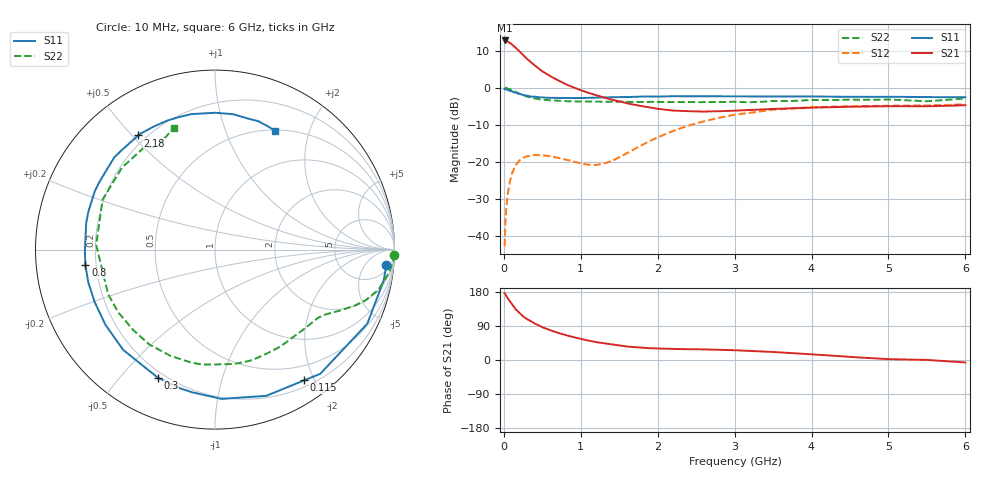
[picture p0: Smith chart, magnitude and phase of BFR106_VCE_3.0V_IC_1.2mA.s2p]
! Infineon Technologies  Discrete & RF Semiconductors
! BFR106
! VCE =  3.0 V,  IC =  1.2 mA
! Common Emitter S-Parameters:  Nov 2015
# GHz  S  MA  R  50
!  f  S11  S21  S12  S22
! GHz  MAG  ANG  MAG  ANG  MAG  ANG  MAG  ANG
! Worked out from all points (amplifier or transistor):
!   210 points, 10 MHz to 6 GHz, reference 50 ohm
!   highest |S21| = 12.8 dB at 10 MHz (marker M1)
!   |S21| within 3 dB of that: start of sweep to 206.1 MHz
!   unconditionally stable (mu >= 1): 847.2 MHz to 2.144 GHz; 2.486 GHz to end of sweep
!   at 185 MHz: K = 0.21, MSG = 15.2 dB, |S12| = -20.1 dB
!   at 1.52 GHz: K = 1.31, MAG = 4.1 dB, |S12| = -18.6 dB
!   at 6 GHz: K = 1.02, MAG = -1.0 dB, |S12| = -4.5 dB
!   S11 on the Smith chart (normalised r, x): 10 MHz: 8, -18; 115 MHz: 0.28, -1.86; 300 MHz: 0.17, -0.63; 800 MHz: 0.16, -0.06; 2.18 GHz: 0.17, +0.52; 6 GHz: 0.51, +1.50
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0.01  0.9585 -5.3  4.355 176.0  0.0072 88.9  0.9991 -1.6
0.02  0.9553 -10.5  4.344 173.4  0.0149 84.5  0.9986 -3.1
0.045  0.9409 -23.3  4.234 164.6  0.0324 76.1  0.9816 -6.8
0.1  0.9072 -49.7  3.9 148.5  0.0667 63.0  0.937 -13.9
0.115  0.8817 -55.7  3.759 144.6  0.0729 58.8  0.9197 -15.3
0.15  0.8632 -70.7  3.504 134.5  0.0887 51.3  0.8817 -18.9
0.2  0.8326 -87.5  3.131 124.4  0.1031 43.5  0.8335 -22.2
0.26  0.7964 -104.5  2.705 113.6  0.1141 35.3  0.7847 -25.3
0.3  0.7812 -114.1  2.46 107.9  0.1184 31.7  0.7609 -26.9
0.4  0.7575 -132.5  2.009 96.2  0.1231 24.3  0.715 -30.3
0.5  0.7405 -145.6  1.666 86.4  0.1221 19.6  0.6886 -33.5
0.6  0.7313 -156.6  1.437 78.6  0.1186 17.1  0.6762 -37.0
0.8  0.7271 -173.1  1.123 65.9  0.1071 17.5  0.6587 -44.6
1.02  0.7259 173.0  0.91 54.7  0.0939 26.0  0.6509 -53.7
1.4  0.7446 154.1  0.69 41.0  0.1018 55.6  0.6494 -71.4
2.02  0.7597 129.4  0.516 30.4  0.2172 70.2  0.6418 -103.3
2.18  0.7669 124.0  0.494 29.3  0.2551 68.4  0.6409 -111.8
3.1  0.7636 97.8  0.494 24.8  0.444 46.5  0.6388 -162.3
3.5  0.7623 89.9  0.517 21.2  0.5051 36.5  0.6625 177.7
4.1  0.7589 81.3  0.541 13.7  0.5486 22.7  0.6815 152.5
5.1  0.7529 70.4  0.562 1.9  0.5712 6.0  0.6853 123.6
6  0.7415 63.3  0.58 -6.5  0.5969 -4.7  0.7162 108.7
